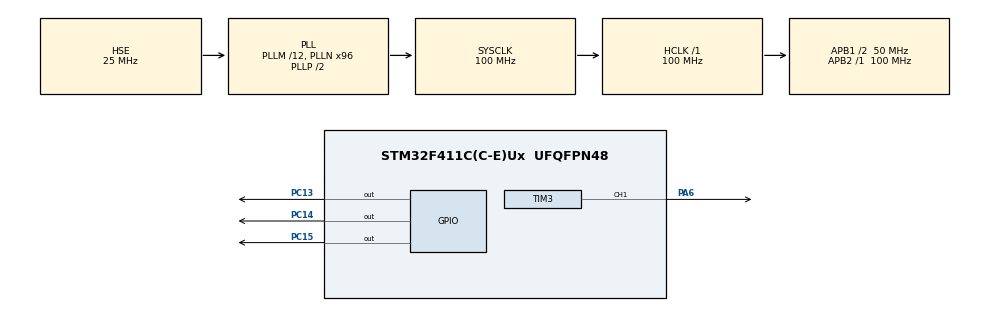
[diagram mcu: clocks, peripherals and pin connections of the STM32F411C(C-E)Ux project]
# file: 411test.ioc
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Dma.Request0=TIM3_CH1/TRIG
Dma.TIM3_CH1/TRIG.0.Direction=DMA_MEMORY_TO_PERIPH
Dma.TIM3_CH1/TRIG.0.FIFOMode=DMA_FIFOMODE_DISABLE
Dma.TIM3_CH1/TRIG.0.Instance=DMA1_Stream4
Dma.TIM3_CH1/TRIG.0.MemDataAlignment=DMA_MDATAALIGN_HALFWORD
Dma.TIM3_CH1/TRIG.0.MemInc=DMA_MINC_ENABLE
Dma.TIM3_CH1/TRIG.0.Mode=DMA_CIRCULAR
Dma.TIM3_CH1/TRIG.0.PeriphDataAlignment=DMA_PDATAALIGN_HALFWORD
Dma.TIM3_CH1/TRIG.0.PeriphInc=DMA_PINC_DISABLE
Dma.TIM3_CH1/TRIG.0.Priority=DMA_PRIORITY_LOW
Mcu.Family=STM32F4
Mcu.Name=STM32F411C(C-E)Ux
Mcu.Package=UFQFPN48
Mcu.UserConstants=T4_PRE,9999;T4_CNT,4999;T3_PRE,0;T3_CNT,124
NVIC.DMA1_Stream4_IRQn=true\:0\:0\:false\:false\:true\:false\:true
NVIC.PriorityGroup=NVIC_PRIORITYGROUP_4
NVIC.TIM4_IRQn=true\:0\:0\:false\:false\:true\:true\:true
PA13.Mode=Trace_Asynchronous_SW
PA13.Signal=SYS_JTMS-SWDIO
PA14.Mode=Trace_Asynchronous_SW
PA14.Signal=SYS_JTCK-SWCLK
PA6.Signal=S_TIM3_CH1
PB3.Mode=Trace_Asynchronous_SW
PB3.Signal=SYS_JTDO-SWO
PC13-ANTI_TAMP.Signal=GPIO_Output
PC14-OSC32_IN.Signal=GPIO_Output
PC15-OSC32_OUT.Signal=GPIO_Output
PH0\ -\ OSC_IN.Mode=HSE-External-Oscillator
PH0\ -\ OSC_IN.Signal=RCC_OSC_IN
PH1\ -\ OSC_OUT.Mode=HSE-External-Oscillator
PH1\ -\ OSC_OUT.Signal=RCC_OSC_OUT
ProjectManager.HeapSize=0x200
ProjectManager.StackSize=0x400
ProjectManager.TargetToolchain=STM32CubeIDE
RCC.48MHZClocksFreq_Value=25000000
RCC.AHBFreq_Value=100000000
RCC.APB1CLKDivider=RCC_HCLK_DIV2
RCC.APB1Freq_Value=50000000
RCC.APB1TimFreq_Value=100000000
RCC.APB2Freq_Value=100000000
RCC.APB2TimFreq_Value=100000000
RCC.CortexFreq_Value=100000000
RCC.HCLKFreq_Value=100000000
RCC.HSE_VALUE=25000000
RCC.HSI_VALUE=16000000
RCC.LSE_VALUE=32768
RCC.PLLM=12
RCC.PLLN=96
RCC.PLLQ=8
RCC.PLLSourceVirtual=RCC_PLLSOURCE_HSE
RCC.SYSCLKFreq_VALUE=100000000
RCC.SYSCLKSource=RCC_SYSCLKSOURCE_PLLCLK
RCC.VCOOutputFreq_Value=200000000
SH.S_TIM3_CH1.0=TIM3_CH1,PWM Generation1 CH1
TIM3.AutoReloadPreload=TIM_AUTORELOAD_PRELOAD_ENABLE
TIM3.Channel-PWM\ Generation1\ CH1=TIM_CHANNEL_1
TIM3.OCFastMode_PWM-PWM\ Generation1\ CH1=TIM_OCFAST_ENABLE
TIM3.Period=T3_CNT
TIM3.Prescaler=T3_PRE
TIM3.TIM_MasterOutputTrigger=TIM_TRGO_UPDATE
TIM4.AutoReloadPreload=TIM_AUTORELOAD_PRELOAD_ENABLE
TIM4.Period=T4_CNT
TIM4.Prescaler=T4_PRE
VP_TIM3_VS_ClockSourceINT.Mode=Internal
VP_TIM4_VS_ClockSourceINT.Mode=Internal
board=custom

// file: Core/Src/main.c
/* USER CODE BEGIN Header */
/**
 ******************************************************************************
 * @file           : main.c
 * @brief          : Main program body
 ******************************************************************************
 * @attention
 *
 * <h2><center>&copy; Copyright (c) 2020 STMicroelectronics.
 * All rights reserved.</center></h2>
 *
 * This software component is licensed by ST under BSD 3-Clause license,
 * the "License"; You may not use this file except in compliance with the
 * License. You may obtain a copy of the License at:
 *                        opensource.org/licenses/BSD-3-Clause
 *
 ******************************************************************************
 */
/* USER CODE END Header */
#include "main.h"

/* USER CODE BEGIN PD */

#define T3_PRE 0
#define T3_CNT 124
#define T4_PRE 9999
#define T4_CNT 4999

// Buffer allocated will be twice this
#define BUFFER_SIZE 24

// LED on/off counts.  PWM timer is running 104 counts.
#define LED_PERIOD T3_CNT + 1
#define LED_OFF 41
#define LED_ON 80
#define LED_RESET_CYCLES 10 // Found experimentally and way longer than specified in datasheet

// Define LED driver state machine states
#define LED_RES 0 // Reset state - all values should be 0 for 2 buffers
#define LED_DAT 1 // Data state - values should be taken from led_values

#define LED_ROWS 8 // The dma buffer update handles the rows and cols sequentially
#define LED_COLS 8
#define G 0
#define R 1
#define B 2

/* USER CODE END PD */

TIM_HandleTypeDef htim3;
TIM_HandleTypeDef htim4;
DMA_HandleTypeDef hdma_tim3_ch1_trig;

/* USER CODE BEGIN PV */

uint16_t dma_buffer[BUFFER_SIZE * 2] = { 0 };

uint16_t *dma_buffer_pointer;

uint8_t led_value[LED_ROWS][LED_COLS][3] = { 0 };

uint8_t led_state = LED_RES;
uint8_t res_cnt = 0;
uint8_t led_col = 0;
uint8_t led_row = 0;

uint32_t update_count = 0;

/* USER CODE END PV */

void SystemClock_Config(void);
static void MX_GPIO_Init(void);
static void MX_DMA_Init(void);
static void MX_TIM4_Init(void);
static void MX_TIM3_Init(void);

/* USER CODE BEGIN 0 */

/*
 * Update next 24 bits in the dma buffer - assume dma_buffer_pointer is pointing
 * to the buffer that is safe to update.
 *
 * At the moment this one is in dire need of optimization!
 *
 */
static inline void update_buffer_next() {

	// For debugging and measuring calculation time - toggle GPIO pin
	HAL_GPIO_WritePin(GPIOC, GPIO_PIN_14, GPIO_PIN_SET);

	// A simple state machine - we're either resetting (two buffers worth of zeros) or
	// we are transmitting data

	if (led_state == LED_RES) { // Reset state - 10 or more full buffers of zeros

		for (uint8_t i = 0; i < BUFFER_SIZE; i++) { // Fill buffer with zeros
			*(uint16_t*) dma_buffer_pointer = (uint16_t) 0;
			dma_buffer_pointer++;
		}

		res_cnt++;

		if (res_cnt >= LED_RESET_CYCLES) { // done enough reset cycles
			led_col = 0;	// prepare to send data
			led_row = 0;
			led_state = LED_DAT;
		}

	} else { // LED state

		// First let's deal with the current LED
		uint8_t *led = led_value[led_col][led_row];
		for (uint8_t c = 0; c < 3; c++) { // This is the bitch - need to be optimized!
			uint8_t value = led[c];
			// Now deal with each bit
			for (uint8_t b = 0; b < 8; b++) {
				*(uint16_t*) dma_buffer_pointer =
						value >> (7 - b) != 0 ? LED_ON : LED_OFF;
				dma_buffer_pointer++;
			}
		}

		// Now move to next LED switching to reset state when all leds have been updated
		led_col++; // Next column
		if (led_col >= LED_COLS) { // reached top
			led_col = 0; // back to first
			led_row++; // and move on to next row
			if (led_row >= LED_ROWS) { // reached end
				update_count++;
				res_cnt = 0;
				led_state = LED_RES;
			}
		}

	}

	HAL_GPIO_WritePin(GPIOC, GPIO_PIN_14, GPIO_PIN_RESET);

}

// Handle built-in led hanging off of C13
void HAL_TIM_PeriodElapsedCallback(TIM_HandleTypeDef *htim) {
	if (htim->Instance == TIM4) {
		HAL_GPIO_TogglePin(GPIOC, GPIO_PIN_13);
	}
}

// Done sending first half of the DMA buffer - this can now safely be updated
void HAL_TIM_PWM_PulseFinishedHalfCpltCallback(TIM_HandleTypeDef *htim) {

	if (htim->Instance == TIM3) {
		dma_buffer_pointer = &dma_buffer[0];
		update_buffer_next();
	}

}

// Done sending the second half of the DMA buffer - this can now be safely updated
void HAL_TIM_PWM_PulseFinishedCallback(TIM_HandleTypeDef *htim) {

	if (htim->Instance == TIM3) {
		dma_buffer_pointer = &dma_buffer[BUFFER_SIZE];
		update_buffer_next();
	}

}

// Just throw values into led_value array - the dma interrupt will
// handle updating the dma buffer when needed
void setLedValue(uint8_t col, uint8_t row, uint8_t r, uint8_t g, uint8_t b) {

	led_value[col][row][R] = r;
	led_value[col][row][G] = g;
	led_value[col][row][B] = b;

}

/* USER CODE END 0 */

int main(void) {

	/* MCU Configuration--------------------------------------------------------*/

	/* Reset of all peripherals, Initializes the Flash interface and the Systick. */
	HAL_Init();

	/* Configure the system clock */
	SystemClock_Config();

	/* Initialize all configured peripherals */
	MX_GPIO_Init();
	MX_DMA_Init();
	MX_TIM4_Init();
	MX_TIM3_Init();
	/* USER CODE BEGIN 2 */

	HAL_TIM_Base_Start_IT(&htim4);

	HAL_TIM_PWM_Start_DMA(&htim3, TIM_CHANNEL_1, (uint32_t*) dma_buffer,
	BUFFER_SIZE * 2);

	/* USER CODE END 2 */

	/* Infinite loop */
	/* USER CODE BEGIN WHILE */

	uint8_t phase = 0;
	uint32_t then = 0;

	while (1) {

		uint32_t now = HAL_GetTick(); // Get current tick - one per ms
		if (now % 30 == 0 && now != then) {

			// We'll get here once per second
			for (uint8_t row = 0; row < LED_ROWS; row++) {
				for (uint8_t col = 0; col < LED_COLS; col++) {

					switch (phase) {
					case 0:
						setLedValue(col, row, 10, 0, 0);
						break;
					case 1:
						setLedValue(col, row, 0, 10, 0);
						break;
					case 2:
						setLedValue(col, row, 0, 0, 10);
						break;
					case 3:
						setLedValue(col, row, 10, 0, 10);
						break;
					case 4:
						setLedValue(col, row, 0, 10, 10);
						break;
					case 5:
						setLedValue(col, row, 10, 10, 0);
						break;
					}

					phase++;
					if (phase == 3)
						phase = 0;

				}
			}

			then = now;
		}

		/* USER CODE END WHILE */

	}
}

void SystemClock_Config(void) {
	RCC_OscInitTypeDef RCC_OscInitStruct = { 0 };
	RCC_ClkInitTypeDef RCC_ClkInitStruct = { 0 };

	/** Configure the main internal regulator output voltage
	 */
	__HAL_RCC_PWR_CLK_ENABLE();
	__HAL_PWR_VOLTAGESCALING_CONFIG(PWR_REGULATOR_VOLTAGE_SCALE1);
	/** Initializes the RCC Oscillators according to the specified parameters
	 * in the RCC_OscInitTypeDef structure.
	 */
	RCC_OscInitStruct.OscillatorType = RCC_OSCILLATORTYPE_HSE;
	RCC_OscInitStruct.HSEState = RCC_HSE_ON;
	RCC_OscInitStruct.PLL.PLLState = RCC_PLL_ON;
	RCC_OscInitStruct.PLL.PLLSource = RCC_PLLSOURCE_HSE;
	RCC_OscInitStruct.PLL.PLLM = 12;
	RCC_OscInitStruct.PLL.PLLN = 96;
	RCC_OscInitStruct.PLL.PLLP = RCC_PLLP_DIV2;
	RCC_OscInitStruct.PLL.PLLQ = 8;
	if (HAL_RCC_OscConfig(&RCC_OscInitStruct) != HAL_OK) {
		Error_Handler();
	}
	/** Initializes the CPU, AHB and APB buses clocks
	 */
	RCC_ClkInitStruct.ClockType = RCC_CLOCKTYPE_HCLK | RCC_CLOCKTYPE_SYSCLK
			| RCC_CLOCKTYPE_PCLK1 | RCC_CLOCKTYPE_PCLK2;
	RCC_ClkInitStruct.SYSCLKSource = RCC_SYSCLKSOURCE_PLLCLK;
	RCC_ClkInitStruct.AHBCLKDivider = RCC_SYSCLK_DIV1;
	RCC_ClkInitStruct.APB1CLKDivider = RCC_HCLK_DIV2;
	RCC_ClkInitStruct.APB2CLKDivider = RCC_HCLK_DIV1;

	if (HAL_RCC_ClockConfig(&RCC_ClkInitStruct, FLASH_LATENCY_3) != HAL_OK) {
		Error_Handler();
	}
}

static void MX_TIM3_Init(void) {

	TIM_ClockConfigTypeDef sClockSourceConfig = { 0 };
	TIM_MasterConfigTypeDef sMasterConfig = { 0 };
	TIM_OC_InitTypeDef sConfigOC = { 0 };

	htim3.Instance = TIM3;
	htim3.Init.Prescaler = T3_PRE;
	htim3.Init.CounterMode = TIM_COUNTERMODE_UP;
	htim3.Init.Period = T3_CNT;
	htim3.Init.ClockDivision = TIM_CLOCKDIVISION_DIV1;
	htim3.Init.AutoReloadPreload = TIM_AUTORELOAD_PRELOAD_ENABLE;
	if (HAL_TIM_Base_Init(&htim3) != HAL_OK) {
		Error_Handler();
	}
	sClockSourceConfig.ClockSource = TIM_CLOCKSOURCE_INTERNAL;
	if (HAL_TIM_ConfigClockSource(&htim3, &sClockSourceConfig) != HAL_OK) {
		Error_Handler();
	}
	if (HAL_TIM_PWM_Init(&htim3) != HAL_OK) {
		Error_Handler();
	}
	sMasterConfig.MasterOutputTrigger = TIM_TRGO_UPDATE;
	sMasterConfig.MasterSlaveMode = TIM_MASTERSLAVEMODE_DISABLE;
	if (HAL_TIMEx_MasterConfigSynchronization(&htim3, &sMasterConfig)
			!= HAL_OK) {
		Error_Handler();
	}
	sConfigOC.OCMode = TIM_OCMODE_PWM1;
	sConfigOC.Pulse = 0;
	sConfigOC.OCPolarity = TIM_OCPOLARITY_HIGH;
	sConfigOC.OCFastMode = TIM_OCFAST_ENABLE;
	if (HAL_TIM_PWM_ConfigChannel(&htim3, &sConfigOC, TIM_CHANNEL_1)
			!= HAL_OK) {
		Error_Handler();
	}
	HAL_TIM_MspPostInit(&htim3);

}

static void MX_TIM4_Init(void) {

	TIM_ClockConfigTypeDef sClockSourceConfig = { 0 };
	TIM_MasterConfigTypeDef sMasterConfig = { 0 };

	htim4.Instance = TIM4;
	htim4.Init.Prescaler = T4_PRE;
	htim4.Init.CounterMode = TIM_COUNTERMODE_UP;
	htim4.Init.Period = T4_CNT;
	htim4.Init.ClockDivision = TIM_CLOCKDIVISION_DIV1;
	htim4.Init.AutoReloadPreload = TIM_AUTORELOAD_PRELOAD_ENABLE;
	if (HAL_TIM_Base_Init(&htim4) != HAL_OK) {
		Error_Handler();
	}
	sClockSourceConfig.ClockSource = TIM_CLOCKSOURCE_INTERNAL;
	if (HAL_TIM_ConfigClockSource(&htim4, &sClockSourceConfig) != HAL_OK) {
		Error_Handler();
	}
	sMasterConfig.MasterOutputTrigger = TIM_TRGO_RESET;
	sMasterConfig.MasterSlaveMode = TIM_MASTERSLAVEMODE_DISABLE;
	if (HAL_TIMEx_MasterConfigSynchronization(&htim4, &sMasterConfig)
			!= HAL_OK) {
		Error_Handler();
	}

}

static void MX_DMA_Init(void) {

	/* DMA controller clock enable */
	__HAL_RCC_DMA1_CLK_ENABLE();

	/* DMA interrupt init */
	/* DMA1_Stream4_IRQn interrupt configuration */
	HAL_NVIC_SetPriority(DMA1_Stream4_IRQn, 0, 0);
	HAL_NVIC_EnableIRQ(DMA1_Stream4_IRQn);

}

static void MX_GPIO_Init(void) {
	GPIO_InitTypeDef GPIO_InitStruct = { 0 };

	/* GPIO Ports Clock Enable */
	__HAL_RCC_GPIOC_CLK_ENABLE();
	__HAL_RCC_GPIOH_CLK_ENABLE();
	__HAL_RCC_GPIOA_CLK_ENABLE();
	__HAL_RCC_GPIOB_CLK_ENABLE();

	/*Configure GPIO pin Output Level */
	HAL_GPIO_WritePin(GPIOC, GPIO_PIN_13 | GPIO_PIN_14 | GPIO_PIN_15,
			GPIO_PIN_RESET);

	/*Configure GPIO pins : PC13 PC14 PC15 */
	GPIO_InitStruct.Pin = GPIO_PIN_13 | GPIO_PIN_14 | GPIO_PIN_15;
	GPIO_InitStruct.Mode = GPIO_MODE_OUTPUT_PP;
	GPIO_InitStruct.Pull = GPIO_NOPULL;
	GPIO_InitStruct.Speed = GPIO_SPEED_FREQ_LOW;
	HAL_GPIO_Init(GPIOC, &GPIO_InitStruct);

}

void Error_Handler(void) {
}

/************************ (C) COPYRIGHT STMicroelectronics *****END OF FILE****/
